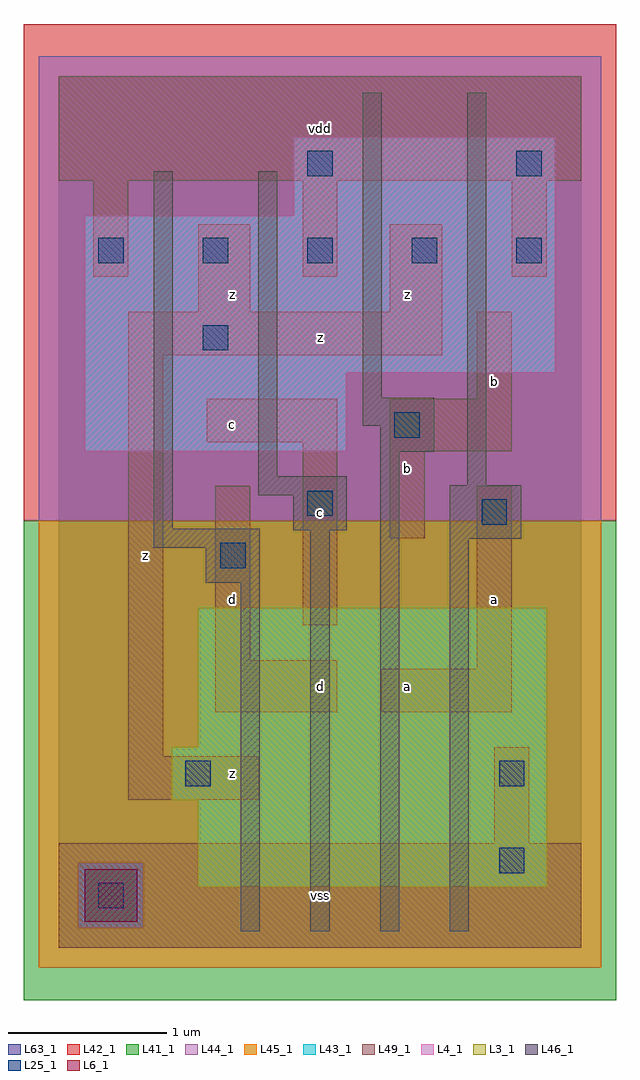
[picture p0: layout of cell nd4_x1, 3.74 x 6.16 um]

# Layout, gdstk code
import gdstk
lib = gdstk.Library(unit=1e-6, precision=1e-09)
def R(c, l, rs):  # rectangles x0, y0, x1, y1
    for r in rs: c.add(gdstk.rectangle(r[:2], r[2:], *l))
def A(c, l, x, y, w, h, nx, ny, dx, dy):  # array of equal rectangles
    R(c, l, [(x+i*dx, y+j*dy, x+i*dx+w, y+j*dy+h) for i in range(nx) for j in range(ny)])
L3_1 = (3, 1)
L4_1 = (4, 1)
L6_1 = (6, 1)
L25_1 = (25, 1)
L41_1 = (41, 1)
L42_1 = (42, 1)
L43_1 = (43, 1)
L44_1 = (44, 1)
L45_1 = (45, 1)
L46_1 = (46, 1)
L49_1 = (49, 1)
L63_1 = (63, 1)

nd4_x1 = lib.new_cell('nd4_x1')
R(nd4_x1, L3_1, [(0.88,0.385,3.08,0.935), (0.715,0.935,3.08,1.265), (0.88,1.265,3.08,2.145)])
R(nd4_x1, L4_1, [(0.165,3.135,1.815,3.63), (0.165,3.63,3.135,4.62), (1.485,4.62,3.135,5.115)])
R(nd4_x1, L6_1, [(0.165,0.165,0.495,0.495)])
A(nd4_x1, L25_1, 0.25, 4.32, 0.16, 0.16, 5, 1, 0.66, 0)
R(nd4_x1, L25_1, [(0.25,0.25,0.41,0.41), (2.78,0.47,2.94,0.63), (0.8,1.02,0.96,1.18), (2.78,1.02,2.94,1.18), (1.02,2.395,1.18,2.555), (2.67,2.67,2.83,2.83), (1.57,2.725,1.73,2.885), (2.12,3.22,2.28,3.38), (0.91,3.77,1.07,3.93), (1.57,4.87,1.73,5.03), (2.89,4.87,3.05,5.03)])
R(nd4_x1, L41_1, [(-0.22,-0.33,3.52,2.695)])
R(nd4_x1, L42_1, [(-0.22,2.695,3.52,5.83)])
R(nd4_x1, L43_1, [(0.165,0.165,0.495,0.495), (0.88,0.385,3.08,0.935), (0.715,0.935,3.08,1.265), (0.88,1.265,3.08,2.145), (0.165,3.135,1.815,3.63), (0.165,3.63,3.135,4.62), (1.485,4.62,3.135,5.115)])
R(nd4_x1, L44_1, [(0.125,0.125,0.535,0.535), (-0.125,2.695,3.425,5.625)])
R(nd4_x1, L45_1, [(-0.125,-0.125,3.425,0.125), (-0.125,0.125,0.125,0.535), (0.535,0.125,3.425,0.535), (-0.125,0.535,3.425,2.695)])
R(nd4_x1, L46_1, [(1.15,0.105,1.27,2.305), (1.59,0.105,1.71,2.635), (2.03,0.105,2.15,3.13), (2.47,0.105,2.59,2.58), (0.93,2.305,1.27,2.525), (0.6,2.525,1.27,2.645), (2.47,2.58,2.92,2.92), (1.48,2.635,1.82,2.855), (0.6,2.645,0.72,4.9), (1.26,2.855,1.82,2.975), (2.58,2.92,2.7,5.395), (1.26,2.975,1.38,4.9), (2.03,3.13,2.37,3.295), (1.92,3.295,2.37,3.47), (1.92,3.47,2.04,5.395)])
A(nd4_x1, L49_1, 0.22, 4.235, 0.22, 0.605, 3, 1, 1.32, 0)
R(nd4_x1, L49_1, [(0,0,3.3,0.66), (2.75,0.66,2.97,1.265), (0.44,0.935,1.265,1.21), (0.44,1.21,0.66,3.74), (0.99,1.485,1.76,1.815), (2.035,1.485,2.86,1.76), (2.64,1.76,2.86,2.915), (0.99,1.815,1.21,2.915), (1.54,2.035,1.76,3.19), (2.09,2.585,2.31,3.135), (2.09,3.135,2.86,3.465), (0.935,3.19,1.76,3.465), (2.64,3.465,2.86,4.015), (0.44,3.74,2.42,4.015), (0.88,4.015,1.21,4.565), (2.09,4.015,2.42,4.565), (0,4.84,3.3,5.5)])
R(nd4_x1, L63_1, [(0,0,3.3,5.5)])
nd4_x1.add(gdstk.Label('z', (1.1,1.1), layer=49, texttype=1))
nd4_x1.add(gdstk.Label('z', (1.1,1.1), layer=49, texttype=1))
nd4_x1.add(gdstk.Label('d', (1.1,2.2), layer=49, texttype=1))
nd4_x1.add(gdstk.Label('d', (1.1,2.2), layer=49, texttype=1))
nd4_x1.add(gdstk.Label('z', (0.55,2.475), layer=49, texttype=1))
nd4_x1.add(gdstk.Label('z', (0.55,2.475), layer=49, texttype=1))
nd4_x1.add(gdstk.Label('c', (1.1,3.3), layer=49, texttype=1))
nd4_x1.add(gdstk.Label('c', (1.1,3.3), layer=49, texttype=1))
nd4_x1.add(gdstk.Label('z', (1.1,4.125), layer=49, texttype=1))
nd4_x1.add(gdstk.Label('z', (1.1,4.125), layer=49, texttype=1))
nd4_x1.add(gdstk.Label('vss', (1.65,0.33), layer=49, texttype=1))
nd4_x1.add(gdstk.Label('vss', (1.65,0.33), layer=49, texttype=1))
nd4_x1.add(gdstk.Label('d', (1.65,1.65), layer=49, texttype=1))
nd4_x1.add(gdstk.Label('d', (1.65,1.65), layer=49, texttype=1))
nd4_x1.add(gdstk.Label('c', (1.65,2.75), layer=49, texttype=1))
nd4_x1.add(gdstk.Label('c', (1.65,2.75), layer=49, texttype=1))
nd4_x1.add(gdstk.Label('z', (1.65,3.85), layer=49, texttype=1))
nd4_x1.add(gdstk.Label('z', (1.65,3.85), layer=49, texttype=1))
nd4_x1.add(gdstk.Label('vdd', (1.65,5.17), layer=49, texttype=1))
nd4_x1.add(gdstk.Label('vdd', (1.65,5.17), layer=49, texttype=1))
nd4_x1.add(gdstk.Label('a', (2.2,1.65), layer=49, texttype=1))
nd4_x1.add(gdstk.Label('a', (2.2,1.65), layer=49, texttype=1))
nd4_x1.add(gdstk.Label('b', (2.2,3.025), layer=49, texttype=1))
nd4_x1.add(gdstk.Label('b', (2.2,3.025), layer=49, texttype=1))
nd4_x1.add(gdstk.Label('z', (2.2,4.125), layer=49, texttype=1))
nd4_x1.add(gdstk.Label('z', (2.2,4.125), layer=49, texttype=1))
nd4_x1.add(gdstk.Label('a', (2.75,2.2), layer=49, texttype=1))
nd4_x1.add(gdstk.Label('a', (2.75,2.2), layer=49, texttype=1))
nd4_x1.add(gdstk.Label('b', (2.75,3.575), layer=49, texttype=1))
nd4_x1.add(gdstk.Label('b', (2.75,3.575), layer=49, texttype=1))

lib.write_gds('nd4_x1.gds')
